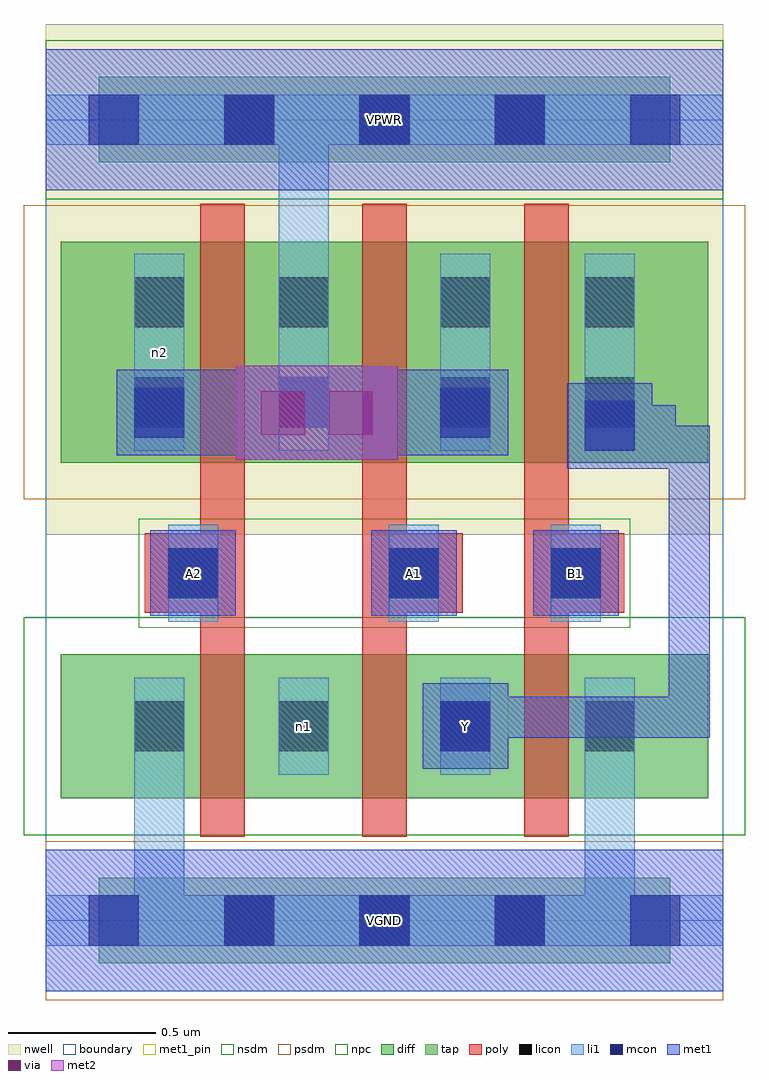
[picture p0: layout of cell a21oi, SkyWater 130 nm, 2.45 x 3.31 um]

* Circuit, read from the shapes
.subckt a21oi A1 A2 B1 VGND VPWR Y n1 n2
XM1 n1 A2 VGND VGND sky130_fd_pr__nfet_01v8 w=0.49 l=0.15
XM2 Y A1 n1 VGND sky130_fd_pr__nfet_01v8 w=0.49 l=0.15
XM3 VGND B1 Y VGND sky130_fd_pr__nfet_01v8 w=0.49 l=0.15
XM4 VPWR A2 n2 VPWR sky130_fd_pr__pfet_01v8 w=0.75 l=0.15
XM5 n2 A1 VPWR VPWR sky130_fd_pr__pfet_01v8 w=0.75 l=0.15
XM6 Y B1 n2 VPWR sky130_fd_pr__pfet_01v8 w=0.75 l=0.15
.ends

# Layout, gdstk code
import gdstk
lib = gdstk.Library(unit=1e-6, precision=1e-09)
def R(c, l, rs):  # rectangles x0, y0, x1, y1
    for r in rs: c.add(gdstk.rectangle(r[:2], r[2:], *l))
def A(c, l, x, y, w, h, nx, ny, dx, dy):  # array of equal rectangles
    R(c, l, [(x+i*dx, y+j*dy, x+i*dx+w, y+j*dy+h) for i in range(nx) for j in range(ny)])
nwell = (64, 20)
diff = (65, 20)
tap = (65, 44)
poly = (66, 20)
licon = (66, 44)
li1 = (67, 20)
mcon = (67, 44)
met1_pin = (68, 16)
met1 = (68, 20)
via = (68, 44)
met2 = (69, 20)
nsdm = (93, 44)
psdm = (94, 20)
npc = (95, 20)
boundary = (235, 4)

a21oi = lib.new_cell('a21oi')
R(a21oi, nwell, [(0,1.31,2.3,3.045)])
R(a21oi, diff, [(0.05,0.415,2.25,0.905), (0.05,1.555,2.25,2.305)])
R(a21oi, tap, [(0.18,-0.145,2.12,0.145), (0.18,2.575,2.12,2.865)])
A(a21oi, poly, 0.525, 0.285, 0.15, 2.15, 3, 1, 0.55, 0)
R(a21oi, poly, [(0.335,1.045,0.665,1.315), (1.085,1.045,1.415,1.315), (1.635,1.045,1.965,1.315)])
A(a21oi, licon, 0.605, -0.085, 0.17, 0.17, 3, 2, 0.46, 2.72)
R(a21oi, licon, [(0.3,0.575,0.47,0.745), (0.79,0.575,0.96,0.745), (1.34,0.575,1.51,0.745), (1.83,0.575,2,0.745), (0.415,1.095,0.585,1.265), (1.165,1.095,1.335,1.265), (1.715,1.095,1.885,1.265), (0.3,1.675,0.47,1.845), (0.79,1.675,0.96,1.845), (1.34,1.675,1.51,1.845), (1.83,1.675,2,1.845), (0.3,2.015,0.47,2.185), (0.79,2.015,0.96,2.185), (1.34,2.015,1.51,2.185), (1.83,2.015,2,2.185)])
R(a21oi, li1, [(0,-0.085,2.3,0.085), (0.3,-0.085,0.47,0.825), (1.83,-0.085,2,0.825), (0.3,0.495,0.47,0.825), (0.79,0.495,0.96,0.825), (1.34,0.495,1.51,0.825), (1.83,0.495,2,0.825), (0.415,1.015,0.585,1.345), (1.165,1.015,1.335,1.345), (1.715,1.015,1.885,1.345), (0.3,1.595,0.47,2.265), (0.79,1.595,0.96,2.265), (0.79,1.595,0.96,2.805), (1.34,1.595,1.51,2.265), (1.83,1.595,2,2.265), (0,2.635,2.3,2.805)])
A(a21oi, mcon, 0.145, -0.085, 0.17, 0.17, 5, 2, 0.46, 2.72)
R(a21oi, mcon, [(1.34,0.575,1.51,0.745), (0.415,1.095,0.585,1.265), (1.165,1.095,1.335,1.265), (1.715,1.095,1.885,1.265), (1.83,1.595,2,1.765), (0.3,1.64,0.47,1.81), (1.34,1.64,1.51,1.81)])
R(a21oi, met1_pin, [(0,-0.24,2.3,0.24), (1.28,0.515,1.57,0.805), (0.355,1.035,0.645,1.325), (1.105,1.035,1.395,1.325), (1.655,1.035,1.945,1.325), (0,2.48,2.3,2.96)])
R(a21oi, met1, [(0,-0.24,2.3,0.24), (1.28,0.515,1.57,0.805), (1.425,0.62,1.565,0.76), (1.425,0.62,2.255,0.76), (2.115,0.62,2.255,1.68), (0.355,1.035,0.645,1.325), (1.105,1.035,1.395,1.325), (1.655,1.035,1.945,1.325), (1.77,1.535,2.06,1.825), (2.06,1.535,2.115,1.68), (2,1.54,2.14,1.75), (2,1.54,2.255,1.68), (0.645,1.565,0.965,1.885), (0.875,1.565,1.195,1.885), (0.24,1.58,0.53,1.87), (0.53,1.58,0.645,1.87), (1.195,1.58,1.28,1.87), (1.28,1.58,1.57,1.87), (1.845,1.61,2.14,1.75), (0.315,1.655,0.645,1.795), (0.505,1.655,0.875,1.795), (0.965,1.655,1.335,1.795), (1.195,1.655,1.495,1.795), (0,2.48,2.3,2.96)])
R(a21oi, via, [(0.73,1.65,0.88,1.8), (0.96,1.65,1.11,1.8)])
R(a21oi, met2, [(0.645,1.565,0.965,1.885), (0.875,1.565,1.195,1.885), (0.735,1.655,1.105,1.795)])
R(a21oi, nsdm, [(-0.075,0.29,2.375,1.03), (0,2.45,2.3,2.99)])
R(a21oi, psdm, [(0,-0.27,2.3,0.27), (-0.075,1.43,2.375,2.43)])
R(a21oi, npc, [(0.315,0.995,1.985,1.365)])
R(a21oi, boundary, [(0,0,2.3,2.72)])
a21oi.add(gdstk.Label('n1', (0.875,0.66), layer=67, texttype=5))
a21oi.add(gdstk.Label('n2', (0.385,1.93), layer=67, texttype=5))
a21oi.add(gdstk.Label('A2', (0.5,1.18), layer=68, texttype=5))
a21oi.add(gdstk.Label('A1', (1.25,1.18), layer=68, texttype=5))
a21oi.add(gdstk.Label('B1', (1.8,1.18), layer=68, texttype=5))
a21oi.add(gdstk.Label('Y', (1.425,0.66), layer=68, texttype=5))
a21oi.add(gdstk.Label('VPWR', (1.15,2.72), layer=68, texttype=5))
a21oi.add(gdstk.Label('VGND', (1.15,0), layer=68, texttype=5))
a21oi.add(gdstk.Label('A2', (0.5,1.18), layer=68, texttype=16))
a21oi.add(gdstk.Label('A1', (1.25,1.18), layer=68, texttype=16))
a21oi.add(gdstk.Label('B1', (1.8,1.18), layer=68, texttype=16))
a21oi.add(gdstk.Label('Y', (1.425,0.66), layer=68, texttype=16))
a21oi.add(gdstk.Label('VPWR', (1.15,2.72), layer=68, texttype=16))
a21oi.add(gdstk.Label('VGND', (1.15,0), layer=68, texttype=16))

lib.write_gds('a21oi.gds')
